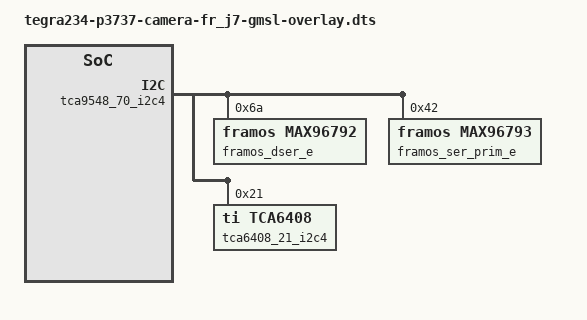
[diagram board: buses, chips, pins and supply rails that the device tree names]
// SPDX-License-Identifier: GPL-2.0
/*
 * Copyright (c) 2024 Framos. All rights reserved.
 *
 * tegra234-p3737-camera-fr_j7-gmsl-overlay.dts
 */

/dts-v1/;
/plugin/;

#include <dt-bindings/clock/tegra234-clock.h>
#include <dt-bindings/gpio/tegra234-gpio.h>
#include <dt-bindings/tegra234-p3737-0000+p3701-0000.h>


/ {
	overlay-name = "Framos GMSL-J7";
	jetson-header-name = "Jetson AGX CSI Connector";
	compatible = JETSON_COMPATIBLE;

	fragment@0 {
		target = <&tca9548_70_i2c4>;
		__overlay__ {
			framos_dser_e: max96792_e@6a {
				compatible = "framos,max96792";
				reg = <0x6a>;
				csi-mode = "2x4";
				max-src = <1>;
			};
			framos_ser_prim_e: max96793_prim_e@42 {
				compatible = "framos,max96793";
				reg = <0x42>;
				nvidia,gmsl-dser-device = <&framos_dser_e>;
				is-prim-ser;
			};
		};
	};

	fragment@1 {
		target = <&sensor_e>;
		__overlay__ {
			nvidia,gmsl-ser-device = <&framos_ser_prim_e>;
			nvidia,gmsl-dser-device = <&framos_dser_e>;
			gmsl-link {
				src-csi-port = "b";
				dst-csi-port = "a";
				serdes-csi-link = "a";
				csi-mode = "1x4";
				st-vc = <0>;
				vc-id = <0>;
				streams = "raw12";
			};
		};
	};

	fragment@2 {
		target = <&tca9548_70_i2c4>;
		__overlay__ {
			tca6408_21_i2c4: tca6408@21 {
				compatible = "ti,tca6408";
				gpio-controller;
				#gpio-cells = <2>;
				reg = <0x21>;
				status = "okay";
				gpio-line-names = "", "", "J7-tca6408_21_i2c4_cresetb";
			};
		};
	};
};
